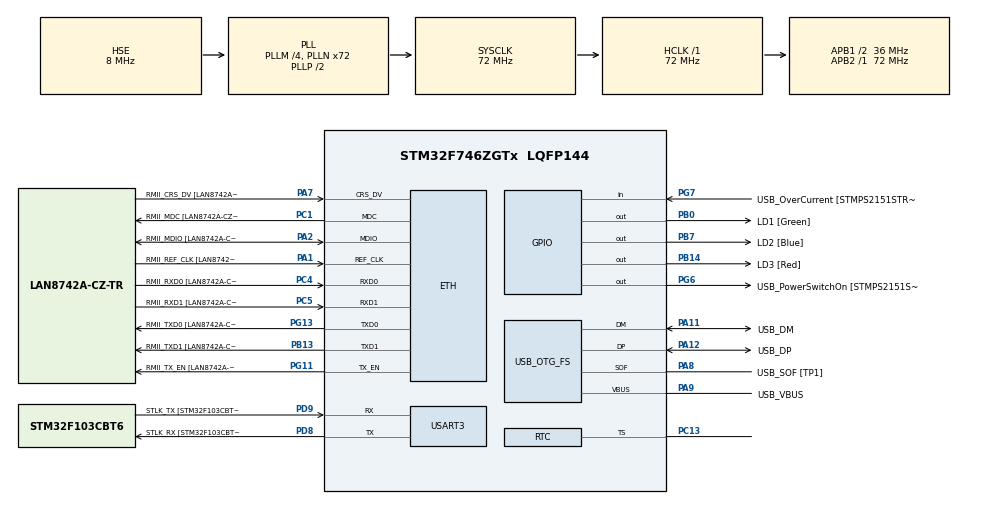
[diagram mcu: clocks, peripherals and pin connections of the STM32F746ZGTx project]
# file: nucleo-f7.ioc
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ETH.MediaInterface=ETH_MEDIA_INTERFACE_RMII
ETH.PHY_Name=LAN8742A_PHY_ADDRESS
ETH.PHY_Value=0
ETH.PhyAddress=0
FREERTOS.Tasks01=defaultTask,0,128,StartDefaultTask,Default,NULL
LWIP.LWIP_DNS=1
LWIP.LWIP_SNTP=1
LWIP.Version=v2.0.3_Cube
Mcu.Family=STM32F7
Mcu.Name=STM32F746ZGTx
Mcu.Package=LQFP144
NVIC.ETH_IRQn=true\:5\:0\:false\:false\:true\:true\:false
NVIC.PriorityGroup=NVIC_PRIORITYGROUP_4
NVIC.TIM1_UP_TIM10_IRQn=true\:0\:0\:false\:false\:true\:false\:false
NVIC.TimeBase=TIM1_UP_TIM10_IRQn
NVIC.TimeBaseIP=TIM1
PA1.GPIO_Label=RMII_REF_CLK [LAN8742A-CZ-TR_REFCLK0]
PA1.Mode=RMII
PA1.Signal=ETH_REF_CLK
PA10.GPIO_Label=USB_ID
PA10.Signal=USB_OTG_FS_ID
PA11.GPIO_Label=USB_DM
PA11.Mode=Device_Only
PA11.Signal=USB_OTG_FS_DM
PA12.GPIO_Label=USB_DP
PA12.Mode=Device_Only
PA12.Signal=USB_OTG_FS_DP
PA13.GPIO_Label=TMS
PA13.Mode=Serial_Wire
PA13.Signal=SYS_JTMS-SWDIO
PA14.GPIO_Label=TCK
PA14.Mode=Serial_Wire
PA14.Signal=SYS_JTCK-SWCLK
PA2.GPIO_Label=RMII_MDIO [LAN8742A-CZ-TR_MDIO]
PA2.Mode=RMII
PA2.Signal=ETH_MDIO
PA7.GPIO_Label=RMII_CRS_DV [LAN8742A-CZ-TR_CRS_DV]
PA7.Mode=RMII
PA7.Signal=ETH_CRS_DV
PA8.GPIO_Label=USB_SOF [TP1]
PA8.Mode=Activate_SOF_FS
PA8.Signal=USB_OTG_FS_SOF
PA9.GPIO_Label=USB_VBUS
PA9.Mode=Activate_VBUS
PA9.Signal=USB_OTG_FS_VBUS
PB0.GPIO_Label=LD1 [Green]
PB0.Signal=GPIO_Output
PB13.GPIO_Label=RMII_TXD1 [LAN8742A-CZ-TR_TXD1]
PB13.Mode=RMII
PB13.Signal=ETH_TXD1
PB14.GPIO_Label=LD3 [Red]
PB14.Signal=GPIO_Output
PB3.GPIO_Label=SW0
PB3.Signal=SYS_JTDO-SWO
PB7.GPIO_Label=LD2 [Blue]
PB7.Signal=GPIO_Output
PC1.GPIO_Label=RMII_MDC [LAN8742A-CZ-TR_MDC]
PC1.Mode=RMII
PC1.Signal=ETH_MDC
PC13.Mode=Timestamp enabled - Input Enabled to TS
PC13.Signal=RTC_TS
PC14/OSC32_IN.Mode=LSE-External-Oscillator
PC14/OSC32_IN.Signal=RCC_OSC32_IN
PC15/OSC32_OUT.Mode=LSE-External-Oscillator
PC15/OSC32_OUT.Signal=RCC_OSC32_OUT
PC4.GPIO_Label=RMII_RXD0 [LAN8742A-CZ-TR_RXD0]
PC4.Mode=RMII
PC4.Signal=ETH_RXD0
PC5.GPIO_Label=RMII_RXD1 [LAN8742A-CZ-TR_RXD1]
PC5.Mode=RMII
PC5.Signal=ETH_RXD1
PD8.GPIO_Label=STLK_RX [STM32F103CBT6_PA3]
PD8.Mode=Asynchronous
PD8.Signal=USART3_TX
PD9.GPIO_Label=STLK_TX [STM32F103CBT6_PA2]
PD9.Mode=Asynchronous
PD9.Signal=USART3_RX
PG11.GPIO_Label=RMII_TX_EN [LAN8742A-CZ-TR_TXEN]
PG11.Mode=RMII
PG11.Signal=ETH_TX_EN
PG13.GPIO_Label=RMII_TXD0 [LAN8742A-CZ-TR_TXD0]
PG13.Mode=RMII
PG13.Signal=ETH_TXD0
PG6.GPIO_Label=USB_PowerSwitchOn [STMPS2151STR_EN]
PG6.Signal=GPIO_Output
PG7.GPIO_Label=USB_OverCurrent [STMPS2151STR_FAULT]
PG7.Signal=GPIO_Input
PH0/OSC_IN.GPIO_Label=MCO [STM32F103CBT6_PA8]
PH0/OSC_IN.Mode=HSE-External-Clock-Source
PH0/OSC_IN.Signal=RCC_OSC_IN
PH1/OSC_OUT.Mode=HSE-External-Clock-Source
PH1/OSC_OUT.Signal=RCC_OSC_OUT
ProjectManager.HeapSize=0x200
ProjectManager.StackSize=0x400
ProjectManager.TargetToolchain=Makefile
RCC.48MHZClocksFreq_Value=24000000
RCC.AHBFreq_Value=72000000
RCC.APB1CLKDivider=RCC_HCLK_DIV2
RCC.APB1Freq_Value=36000000
RCC.APB1TimFreq_Value=72000000
RCC.APB2Freq_Value=72000000
RCC.APB2TimFreq_Value=72000000
RCC.CortexFreq_Value=72000000
RCC.HCLKFreq_Value=72000000
RCC.HSE_VALUE=8000000
RCC.HSI_VALUE=16000000
RCC.PLLM=4
RCC.PLLMUL=RCC_PLL_MUL9
RCC.PLLN=72
RCC.PLLQ=3
RCC.PRESCALERUSB=RCC_USBCLKSOURCE_PLL_DIV1_5
RCC.SYSCLKFreq_VALUE=72000000
RCC.SYSCLKSource=RCC_SYSCLKSOURCE_PLLCLK
RCC.SYSCLKSourceVirtual=RCC_SYSCLKSOURCE_PLLCLK
RCC.USBFreq_Value=48000000
RCC.VCOOutputFreq_Value=144000000
USART3.VirtualMode-Asynchronous=VM_ASYNC
USB_OTG_FS.VirtualMode=Device_Only
VP_FREERTOS_VS_ENABLE.Mode=Enabled
VP_LWIP_VS_Enabled.Mode=Enabled
VP_RTC_VS_RTC_Activate.Mode=RTC_Enabled
VP_RTC_VS_RTC_Calendar.Mode=RTC_Calendar
VP_SYS_VS_tim1.Mode=TIM1
board=NUCLEO-F746ZG

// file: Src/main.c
/**
  ******************************************************************************
  * @file           : main.c
  * @brief          : Main program body
  ******************************************************************************
  * This notice applies to any and all portions of this file
  * that are not between comment pairs USER CODE BEGIN and
  * USER CODE END. Other portions of this file, whether
  * inserted by the user or by software development tools
  * are owned by their respective copyright owners.
  *
  * Copyright (c) 2018 STMicroelectronics International N.V.
  * All rights reserved.
  *
  * Redistribution and use in source and binary forms, with or without
  * modification, are permitted, provided that the following conditions are met:
  *
  * 1. Redistribution of source code must retain the above copyright notice,
  *    this list of conditions and the following disclaimer.
  * 2. Redistributions in binary form must reproduce the above copyright notice,
  *    this list of conditions and the following disclaimer in the documentation
  *    and/or other materials provided with the distribution.
  * 3. Neither the name of STMicroelectronics nor the names of other
  *    contributors to this software may be used to endorse or promote products
  *    derived from this software without specific written permission.
  * 4. This software, including modifications and/or derivative works of this
  *    software, must execute solely and exclusively on microcontroller or
  *    microprocessor devices manufactured by or for STMicroelectronics.
  * 5. Redistribution and use of this software other than as permitted under
  *    this license is void and will automatically terminate your rights under
  *    this license.
  *
  * THIS SOFTWARE IS PROVIDED BY STMICROELECTRONICS AND CONTRIBUTORS "AS IS"
  * AND ANY EXPRESS, IMPLIED OR STATUTORY WARRANTIES, INCLUDING, BUT NOT
  * LIMITED TO, THE IMPLIED WARRANTIES OF MERCHANTABILITY, FITNESS FOR A
  * PARTICULAR PURPOSE AND NON-INFRINGEMENT OF THIRD PARTY INTELLECTUAL PROPERTY
  * RIGHTS ARE DISCLAIMED TO THE FULLEST EXTENT PERMITTED BY LAW. IN NO EVENT
  * SHALL STMICROELECTRONICS OR CONTRIBUTORS BE LIABLE FOR ANY DIRECT, INDIRECT,
  * INCIDENTAL, SPECIAL, EXEMPLARY, OR CONSEQUENTIAL DAMAGES (INCLUDING, BUT NOT
  * LIMITED TO, PROCUREMENT OF SUBSTITUTE GOODS OR SERVICES; LOSS OF USE, DATA,
  * OR PROFITS; OR BUSINESS INTERRUPTION) HOWEVER CAUSED AND ON ANY THEORY OF
  * LIABILITY, WHETHER IN CONTRACT, STRICT LIABILITY, OR TORT (INCLUDING
  * NEGLIGENCE OR OTHERWISE) ARISING IN ANY WAY OUT OF THE USE OF THIS SOFTWARE,
  * EVEN IF ADVISED OF THE POSSIBILITY OF SUCH DAMAGE.
  *
  ******************************************************************************
  */
#include "main.h"
#include "stm32f7xx_hal.h"
#include "cmsis_os.h"
#include "lwip.h"

/* USER CODE BEGIN Includes */
#include "lwip/dns.h"
#include "lwip/ip_addr.h"
#include "term_io.h"
#include "dbgu.h"
#include "ansi.h"
#include "sntp.h"
/* USER CODE END Includes */

RTC_HandleTypeDef hrtc;

UART_HandleTypeDef huart3;

PCD_HandleTypeDef hpcd_USB_OTG_FS;

osThreadId defaultTaskHandle;

/* USER CODE BEGIN PV */
/* Private variables ---------------------------------------------------------*/

/* USER CODE END PV */

void SystemClock_Config(void);
static void MX_GPIO_Init(void);
static void MX_USART3_UART_Init(void);
static void MX_USB_OTG_FS_PCD_Init(void);
static void MX_RTC_Init(void);
void StartDefaultTask(void const * argument);

/* USER CODE BEGIN PFP */
/* Private function prototypes -----------------------------------------------*/
/* USER CODE END PFP */

/* USER CODE BEGIN 0 */
#define PRINTF_USES_HAL_TX 0
#define SNTP_SERVER_DNS 1
#define SNTP_SERVER_ADDRESS "pool.ntp.org"

int
__io_putchar(int ch)
{
  uint8_t data = ch;

  #if PRINTF_USES_HAL_TX
    HAL_StatusTypeDef status = HAL_UART_Transmit(&huart3, (uint8_t*) &data, len, 100);
  #else
    while (__HAL_UART_GET_FLAG(&huart3, UART_FLAG_TXE) == RESET) { ; }
    huart3.Instance->TDR = (uint16_t) data;
  #endif

  return 0;
}

char
inkey(void)
{
  uint32_t flags = huart3.Instance->ISR;

  if ((flags & UART_FLAG_RXNE) || (flags & UART_FLAG_ORE)) {
    __HAL_UART_CLEAR_OREFLAG(&huart3);
    return (huart3.Instance->RDR);
  } else {
    return 0;
  }
}

static void
display_time(RTC_TimeTypeDef *t, RTC_DateTypeDef *d)
{
  if (HAL_RTC_GetTime(&hrtc, t, RTC_FORMAT_BIN) != HAL_OK) {
    _Error_Handler(__FILE__, __LINE__);
  }

  if (HAL_RTC_GetDate(&hrtc, d, RTC_FORMAT_BIN) != HAL_OK) {
    _Error_Handler(__FILE__, __LINE__);
  }

  xprintf("Time is: %02d:%02d:%02d\n", t->Hours, t->Minutes, t->Seconds);
}

static int
get_second(RTC_TimeTypeDef *t, RTC_DateTypeDef *d)
{
  if (HAL_RTC_GetTime(&hrtc, t, RTC_FORMAT_BIN) != HAL_OK) {
    _Error_Handler(__FILE__, __LINE__);
  }

  if (HAL_RTC_GetDate(&hrtc, d, RTC_FORMAT_BIN) != HAL_OK) {
    _Error_Handler(__FILE__, __LINE__);
  }

  return t->Seconds;
}

static void
led_on(void)
{
  HAL_GPIO_WritePin(GPIOB, LD1_Pin, GPIO_PIN_SET);
  HAL_GPIO_WritePin(GPIOB, LD2_Pin, GPIO_PIN_SET);
  HAL_GPIO_WritePin(GPIOB, LD3_Pin, GPIO_PIN_SET);
}

static void
led_off(void)
{
  HAL_GPIO_WritePin(GPIOB, LD1_Pin, GPIO_PIN_RESET);
  HAL_GPIO_WritePin(GPIOB, LD2_Pin, GPIO_PIN_RESET);
  HAL_GPIO_WritePin(GPIOB, LD3_Pin, GPIO_PIN_RESET);
}

static void
blink_led()
{
  static RTC_TimeTypeDef t;
  static RTC_DateTypeDef d;
  int second;

  for (;;) {
    second = get_second(&t, &d);

    switch (second % 2) {
      case 1:
//        xprintf("led_on\n");
        led_on();
        break;
      case 0:
//        xprintf("led_off\n");
        led_off();
        break;
    }

    vTaskDelay(1);
  }
}

void
set_time(int sec, int us)
{
  xprintf("setting time...\n");

  int ms = 1000 - (us / 1000);
  vTaskDelay(ms / portTICK_PERIOD_MS);

  RTC_TimeTypeDef t;

  int r = (sec + 1) % 86400;
  t.Hours = r / 3600;
  r %= 3600;
  t.Minutes = r / 60;
  r %= 60;
  t.Seconds = r;
//   t.SubSeconds = us;
//   t.SecondFraction = 255;

  if (HAL_RTC_SetTime(&hrtc, &t, RTC_FORMAT_BIN) != HAL_OK) {
    _Error_Handler(__FILE__, __LINE__);
  }
}

/* USER CODE END 0 */

int main(void)
{

  /* MCU Configuration----------------------------------------------------------*/

  /* Reset of all peripherals, Initializes the Flash interface and the Systick. */
  HAL_Init();

  /* Configure the system clock */
  SystemClock_Config();

  /* Initialize all configured peripherals */
  MX_GPIO_Init();
  MX_USART3_UART_Init();
  MX_USB_OTG_FS_PCD_Init();
  MX_RTC_Init();
  /* USER CODE BEGIN 2 */
  debug_init(&huart3);

  xprintf("Start\n");

  /* USER CODE END 2 */

  /* Create the thread(s) */
  /* definition and creation of defaultTask */
  osThreadDef(defaultTask, StartDefaultTask, osPriorityNormal + 1, 0, 2048);
  defaultTaskHandle = osThreadCreate(osThread(defaultTask), NULL);

  /* USER CODE BEGIN RTOS_THREADS */
//  TaskHandle_t led_handle = NULL;
//  xTaskCreate(blink_led, "LED", 128, NULL, osPriorityNormal, &led_handle);
  /* add threads, ... */
  /* USER CODE END RTOS_THREADS */

  /* Start scheduler */
  osKernelStart();

  /* We should never get here as control is now taken by the scheduler */

  /* Infinite loop */
  while (1)
  {

  }

}

void SystemClock_Config(void)
{

  RCC_OscInitTypeDef RCC_OscInitStruct;
  RCC_ClkInitTypeDef RCC_ClkInitStruct;
  RCC_PeriphCLKInitTypeDef PeriphClkInitStruct;

    /**Configure the main internal regulator output voltage
    */
  __HAL_RCC_PWR_CLK_ENABLE();

  __HAL_PWR_VOLTAGESCALING_CONFIG(PWR_REGULATOR_VOLTAGE_SCALE3);

    /**Initializes the CPU, AHB and APB busses clocks
    */
  RCC_OscInitStruct.OscillatorType = RCC_OSCILLATORTYPE_HSE|RCC_OSCILLATORTYPE_LSE;
  RCC_OscInitStruct.HSEState = RCC_HSE_BYPASS;
  RCC_OscInitStruct.LSEState = RCC_LSE_ON;
  RCC_OscInitStruct.PLL.PLLState = RCC_PLL_ON;
  RCC_OscInitStruct.PLL.PLLSource = RCC_PLLSOURCE_HSE;
  RCC_OscInitStruct.PLL.PLLM = 4;
  RCC_OscInitStruct.PLL.PLLN = 72;
  RCC_OscInitStruct.PLL.PLLP = RCC_PLLP_DIV2;
  RCC_OscInitStruct.PLL.PLLQ = 3;
  if (HAL_RCC_OscConfig(&RCC_OscInitStruct) != HAL_OK)
  {
    _Error_Handler(__FILE__, __LINE__);
  }

    /**Initializes the CPU, AHB and APB busses clocks
    */
  RCC_ClkInitStruct.ClockType = RCC_CLOCKTYPE_HCLK|RCC_CLOCKTYPE_SYSCLK
                              |RCC_CLOCKTYPE_PCLK1|RCC_CLOCKTYPE_PCLK2;
  RCC_ClkInitStruct.SYSCLKSource = RCC_SYSCLKSOURCE_PLLCLK;
  RCC_ClkInitStruct.AHBCLKDivider = RCC_SYSCLK_DIV1;
  RCC_ClkInitStruct.APB1CLKDivider = RCC_HCLK_DIV2;
  RCC_ClkInitStruct.APB2CLKDivider = RCC_HCLK_DIV1;

  if (HAL_RCC_ClockConfig(&RCC_ClkInitStruct, FLASH_LATENCY_2) != HAL_OK)
  {
    _Error_Handler(__FILE__, __LINE__);
  }

  PeriphClkInitStruct.PeriphClockSelection = RCC_PERIPHCLK_RTC|RCC_PERIPHCLK_USART3
                              |RCC_PERIPHCLK_CLK48;
  PeriphClkInitStruct.RTCClockSelection = RCC_RTCCLKSOURCE_LSE;
  PeriphClkInitStruct.Usart3ClockSelection = RCC_USART3CLKSOURCE_PCLK1;
  PeriphClkInitStruct.Clk48ClockSelection = RCC_CLK48SOURCE_PLL;
  if (HAL_RCCEx_PeriphCLKConfig(&PeriphClkInitStruct) != HAL_OK)
  {
    _Error_Handler(__FILE__, __LINE__);
  }

    /**Configure the Systick interrupt time
    */
  HAL_SYSTICK_Config(HAL_RCC_GetHCLKFreq()/1000);

    /**Configure the Systick
    */
  HAL_SYSTICK_CLKSourceConfig(SYSTICK_CLKSOURCE_HCLK);

  /* SysTick_IRQn interrupt configuration */
  HAL_NVIC_SetPriority(SysTick_IRQn, 15, 0);
}

/* RTC init function */
static void MX_RTC_Init(void)
{

  RTC_TimeTypeDef sTime;
  RTC_DateTypeDef sDate;

    /**Initialize RTC Only
    */
  hrtc.Instance = RTC;
  hrtc.Init.HourFormat = RTC_HOURFORMAT_24;
  hrtc.Init.AsynchPrediv = 127;
  hrtc.Init.SynchPrediv = 255;
  hrtc.Init.OutPut = RTC_OUTPUT_DISABLE;
  hrtc.Init.OutPutPolarity = RTC_OUTPUT_POLARITY_HIGH;
  hrtc.Init.OutPutType = RTC_OUTPUT_TYPE_OPENDRAIN;
  if (HAL_RTC_Init(&hrtc) != HAL_OK)
  {
    _Error_Handler(__FILE__, __LINE__);
  }

    /**Initialize RTC and set the Time and Date
    */
  sTime.Hours = 0x0;
  sTime.Minutes = 0x0;
  sTime.Seconds = 0x0;
  sTime.DayLightSaving = RTC_DAYLIGHTSAVING_NONE;
  sTime.StoreOperation = RTC_STOREOPERATION_RESET;
  if (HAL_RTC_SetTime(&hrtc, &sTime, RTC_FORMAT_BCD) != HAL_OK)
  {
    _Error_Handler(__FILE__, __LINE__);
  }

  sDate.WeekDay = RTC_WEEKDAY_MONDAY;
  sDate.Month = RTC_MONTH_JANUARY;
  sDate.Date = 0x1;
  sDate.Year = 0x0;

  if (HAL_RTC_SetDate(&hrtc, &sDate, RTC_FORMAT_BCD) != HAL_OK)
  {
    _Error_Handler(__FILE__, __LINE__);
  }

    /**Enable the TimeStamp
    */
  if (HAL_RTCEx_SetTimeStamp(&hrtc, RTC_TIMESTAMPEDGE_RISING, RTC_TIMESTAMPPIN_DEFAULT) != HAL_OK)
  {
    _Error_Handler(__FILE__, __LINE__);
  }

}

/* USART3 init function */
static void MX_USART3_UART_Init(void)
{

  huart3.Instance = USART3;
  huart3.Init.BaudRate = 115200;
  huart3.Init.WordLength = UART_WORDLENGTH_8B;
  huart3.Init.StopBits = UART_STOPBITS_1;
  huart3.Init.Parity = UART_PARITY_NONE;
  huart3.Init.Mode = UART_MODE_TX_RX;
  huart3.Init.HwFlowCtl = UART_HWCONTROL_NONE;
  huart3.Init.OverSampling = UART_OVERSAMPLING_16;
  huart3.Init.OneBitSampling = UART_ONE_BIT_SAMPLE_DISABLE;
  huart3.AdvancedInit.AdvFeatureInit = UART_ADVFEATURE_NO_INIT;
  if (HAL_UART_Init(&huart3) != HAL_OK)
  {
    _Error_Handler(__FILE__, __LINE__);
  }

}

/* USB_OTG_FS init function */
static void MX_USB_OTG_FS_PCD_Init(void)
{

  hpcd_USB_OTG_FS.Instance = USB_OTG_FS;
  hpcd_USB_OTG_FS.Init.dev_endpoints = 6;
  hpcd_USB_OTG_FS.Init.speed = PCD_SPEED_FULL;
  hpcd_USB_OTG_FS.Init.dma_enable = DISABLE;
  hpcd_USB_OTG_FS.Init.ep0_mps = DEP0CTL_MPS_64;
  hpcd_USB_OTG_FS.Init.phy_itface = PCD_PHY_EMBEDDED;
  hpcd_USB_OTG_FS.Init.Sof_enable = ENABLE;
  hpcd_USB_OTG_FS.Init.low_power_enable = DISABLE;
  hpcd_USB_OTG_FS.Init.lpm_enable = DISABLE;
  hpcd_USB_OTG_FS.Init.vbus_sensing_enable = ENABLE;
  hpcd_USB_OTG_FS.Init.use_dedicated_ep1 = DISABLE;
  if (HAL_PCD_Init(&hpcd_USB_OTG_FS) != HAL_OK)
  {
    _Error_Handler(__FILE__, __LINE__);
  }

}

/** Configure pins as
        * Analog
        * Input
        * Output
        * EVENT_OUT
        * EXTI
*/
static void MX_GPIO_Init(void)
{

  GPIO_InitTypeDef GPIO_InitStruct;

  /* GPIO Ports Clock Enable */
  __HAL_RCC_GPIOC_CLK_ENABLE();
  __HAL_RCC_GPIOH_CLK_ENABLE();
  __HAL_RCC_GPIOA_CLK_ENABLE();
  __HAL_RCC_GPIOB_CLK_ENABLE();
  __HAL_RCC_GPIOD_CLK_ENABLE();
  __HAL_RCC_GPIOG_CLK_ENABLE();

  /*Configure GPIO pin Output Level */
  HAL_GPIO_WritePin(GPIOB, LD1_Pin|LD3_Pin|LD2_Pin, GPIO_PIN_RESET);

  /*Configure GPIO pin Output Level */
  HAL_GPIO_WritePin(USB_PowerSwitchOn_GPIO_Port, USB_PowerSwitchOn_Pin, GPIO_PIN_RESET);

  /*Configure GPIO pins : LD1_Pin LD3_Pin LD2_Pin */
  GPIO_InitStruct.Pin = LD1_Pin|LD3_Pin|LD2_Pin;
  GPIO_InitStruct.Mode = GPIO_MODE_OUTPUT_PP;
  GPIO_InitStruct.Pull = GPIO_NOPULL;
  GPIO_InitStruct.Speed = GPIO_SPEED_FREQ_LOW;
  HAL_GPIO_Init(GPIOB, &GPIO_InitStruct);

  /*Configure GPIO pin : USB_PowerSwitchOn_Pin */
  GPIO_InitStruct.Pin = USB_PowerSwitchOn_Pin;
  GPIO_InitStruct.Mode = GPIO_MODE_OUTPUT_PP;
  GPIO_InitStruct.Pull = GPIO_NOPULL;
  GPIO_InitStruct.Speed = GPIO_SPEED_FREQ_LOW;
  HAL_GPIO_Init(USB_PowerSwitchOn_GPIO_Port, &GPIO_InitStruct);

  /*Configure GPIO pin : USB_OverCurrent_Pin */
  GPIO_InitStruct.Pin = USB_OverCurrent_Pin;
  GPIO_InitStruct.Mode = GPIO_MODE_INPUT;
  GPIO_InitStruct.Pull = GPIO_NOPULL;
  HAL_GPIO_Init(USB_OverCurrent_GPIO_Port, &GPIO_InitStruct);

}

void StartDefaultTask(void const * argument)
{
  /* init code for LWIP */
  MX_LWIP_Init();

  /* USER CODE BEGIN 5 */

//  /* Infinite loop */
  xprintf("Default task start\n");

  sntp_setoperatingmode(SNTP_OPMODE_POLL);
  sntp_setservername(0, SNTP_SERVER_ADDRESS);

  TaskHandle_t xHandle = NULL;
  BaseType_t xReturned = xTaskCreate(blink_led, "LED", 128, NULL, osPriorityNormal, &xHandle);

  if (xReturned != pdPASS) {
    vTaskDelete(xHandle);
    xprintf("task error: %ld\n", xReturned);
  }

  for (;;) {
//    char key = inkey();
//    if (key) {
    if (HAL_GPIO_ReadPin(GPIOC, GPIO_PIN_13)) {
      sntp_init();
    }

    osDelay(100);
  }

  /* USER CODE END 5 */
}

void HAL_TIM_PeriodElapsedCallback(TIM_HandleTypeDef *htim)
{
  if (htim->Instance == TIM1) {
    HAL_IncTick();
  }
}

void _Error_Handler(char *file, int line)
{
  while(1)
  {
  }
}

/************************ (C) COPYRIGHT STMicroelectronics *****END OF FILE****/
